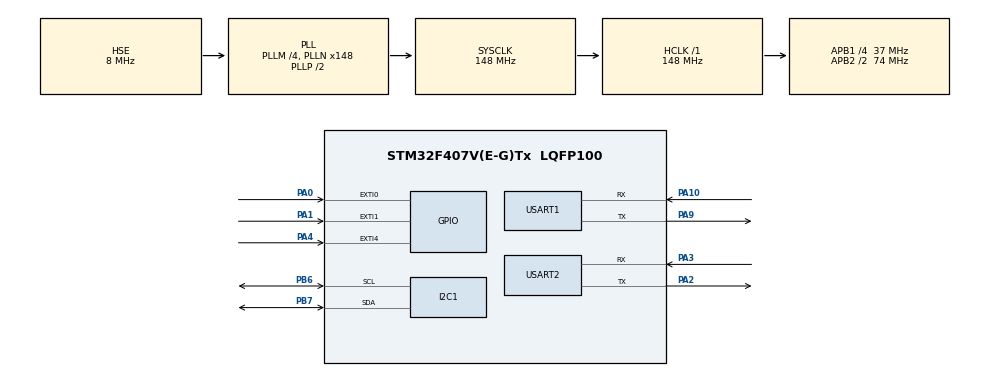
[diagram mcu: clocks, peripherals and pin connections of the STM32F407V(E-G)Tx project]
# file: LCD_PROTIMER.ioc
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Mcu.Family=STM32F4
Mcu.Name=STM32F407V(E-G)Tx
Mcu.Package=LQFP100
NVIC.EXTI0_IRQn=true\:0\:0\:false\:false\:true\:true\:true
NVIC.EXTI1_IRQn=true\:0\:0\:false\:false\:true\:true\:true
NVIC.EXTI4_IRQn=true\:0\:0\:false\:false\:true\:true\:true
NVIC.PriorityGroup=NVIC_PRIORITYGROUP_4
NVIC.USART1_IRQn=true\:0\:0\:false\:false\:true\:true\:true
NVIC.USART2_IRQn=true\:0\:0\:false\:false\:true\:true\:true
PA0-WKUP.GPIO_PuPd=GPIO_PULLDOWN
PA0-WKUP.Signal=GPXTI0
PA1.GPIO_PuPd=GPIO_PULLDOWN
PA1.Signal=GPXTI1
PA10.Mode=Asynchronous
PA10.Signal=USART1_RX
PA13.Mode=Serial_Wire
PA13.Signal=SYS_JTMS-SWDIO
PA14.Mode=Serial_Wire
PA14.Signal=SYS_JTCK-SWCLK
PA2.Mode=Asynchronous
PA2.Signal=USART2_TX
PA3.Mode=Asynchronous
PA3.Signal=USART2_RX
PA4.GPIO_PuPd=GPIO_PULLDOWN
PA4.Signal=GPXTI4
PA9.Mode=Asynchronous
PA9.Signal=USART1_TX
PB6.Mode=I2C
PB6.Signal=I2C1_SCL
PB7.Mode=I2C
PB7.Signal=I2C1_SDA
PH0-OSC_IN.Mode=HSE-External-Oscillator
PH0-OSC_IN.Signal=RCC_OSC_IN
PH1-OSC_OUT.Mode=HSE-External-Oscillator
PH1-OSC_OUT.Signal=RCC_OSC_OUT
ProjectManager.HeapSize=0x200
ProjectManager.StackSize=0x400
ProjectManager.TargetToolchain=STM32CubeIDE
RCC.48MHZClocksFreq_Value=74000000
RCC.AHBFreq_Value=148000000
RCC.APB1CLKDivider=RCC_HCLK_DIV4
RCC.APB1Freq_Value=37000000
RCC.APB1TimFreq_Value=74000000
RCC.APB2CLKDivider=RCC_HCLK_DIV2
RCC.APB2Freq_Value=74000000
RCC.APB2TimFreq_Value=148000000
RCC.CortexFreq_Value=148000000
RCC.HCLKFreq_Value=148000000
RCC.HSE_VALUE=8000000
RCC.HSI_VALUE=16000000
RCC.LSE_VALUE=32768
RCC.PLLM=4
RCC.PLLN=148
RCC.PLLSourceVirtual=RCC_PLLSOURCE_HSE
RCC.SYSCLKFreq_VALUE=148000000
RCC.SYSCLKSource=RCC_SYSCLKSOURCE_PLLCLK
RCC.VCOOutputFreq_Value=296000000
USART1.VirtualMode=VM_ASYNC
USART2.VirtualMode=VM_ASYNC
board=custom

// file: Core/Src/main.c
/* USER CODE BEGIN Header */
/**
 ******************************************************************************
 * @file           : main.c
 * @brief          : Main program body
 ******************************************************************************
 * @attention
 *
 * <h2><center>&copy; Copyright (c) 2022 STMicroelectronics.
 * All rights reserved.</center></h2>
 *
 * This software component is licensed by ST under BSD 3-Clause license,
 * the "License"; You may not use this file except in compliance with the
 * License. You may obtain a copy of the License at:
 *                        opensource.org/licenses/BSD-3-Clause
 *
 ******************************************************************************
 */
/* USER CODE END Header */
#include "main.h"
#include "app.h"

I2C_HandleTypeDef hi2c1;

UART_HandleTypeDef huart1;
UART_HandleTypeDef huart2;

/* USER CODE BEGIN PV */
protimer_t *timerobj;
pro_timer_general_event_t *timtick_evt;
protimer_button_event_t *btn_evt;
tim_tick_event_signal_t * thick_evt;

/* USER CODE END PV */

void SystemClock_Config(void);
static void MX_GPIO_Init(void);
static void MX_I2C1_Init(void);
static void MX_USART1_UART_Init(void);
static void MX_USART2_UART_Init(void);

/* USER CODE BEGIN 0 */
void HAL_GPIO_EXTI_Callback(uint16_t GPIO_Pin) {
	btn_event_handler(GPIO_Pin, btn_evt);
}
/* USER CODE END 0 */

int main(void) {

	/* MCU Configuration--------------------------------------------------------*/

	/* Reset of all peripherals, Initializes the Flash interface and the Systick. */
	HAL_Init();

	/* Configure the system clock */
	SystemClock_Config();

	/* Initialize all configured peripherals */
	MX_GPIO_Init();
	MX_I2C1_Init();
	MX_USART1_UART_Init();
	MX_USART2_UART_Init();
	/* USER CODE BEGIN 2 */
	pro_timer_init(timerobj);
	copy_button_evt_to_general_evt(btn_evt, timtick_evt);
	copy_tick_info_to_general_struct(thick_evt, timtick_evt);

	/* USER CODE END 2 */

	/* Infinite loop */
	while (1) {

		/* USER CODE BEGIN 3 */
		/*if (btn_evt->is_button_pressed) {
			copy_button_evt_to_general_evt(btn_evt, timtick_evt);
		}*/
		if (!(isevent_thick(thick_evt))) {
			thick_evt->is_time_idle = true;
		} else
			thick_evt->is_time_idle = false;
		copy_tick_info_to_general_struct(thick_evt, timtick_evt);
		pro_timer_state_machine(timerobj, timtick_evt);
		//btn_evt->is_button_pressed = 0; Buuna gerek kalmadı çünk kendi içinde 0'a çekilecek o.
	    //copy_button_evt_to_general_evt(btn_evt, timtick_evt);copy _button_evt_to general evt de
		//adresini alarak işlem yapıldıgı için bir daha kopyalamaya gerek kalmadı.

	}
	/* USER CODE END 3 */
}

void SystemClock_Config(void) {
	RCC_OscInitTypeDef RCC_OscInitStruct = { 0 };
	RCC_ClkInitTypeDef RCC_ClkInitStruct = { 0 };

	/** Configure the main internal regulator output voltage
	 */
	__HAL_RCC_PWR_CLK_ENABLE();
	__HAL_PWR_VOLTAGESCALING_CONFIG(PWR_REGULATOR_VOLTAGE_SCALE1);
	/** Initializes the RCC Oscillators according to the specified parameters
	 * in the RCC_OscInitTypeDef structure.
	 */
	RCC_OscInitStruct.OscillatorType = RCC_OSCILLATORTYPE_HSE;
	RCC_OscInitStruct.HSEState = RCC_HSE_ON;
	RCC_OscInitStruct.PLL.PLLState = RCC_PLL_ON;
	RCC_OscInitStruct.PLL.PLLSource = RCC_PLLSOURCE_HSE;
	RCC_OscInitStruct.PLL.PLLM = 4;
	RCC_OscInitStruct.PLL.PLLN = 148;
	RCC_OscInitStruct.PLL.PLLP = RCC_PLLP_DIV2;
	RCC_OscInitStruct.PLL.PLLQ = 4;
	if (HAL_RCC_OscConfig(&RCC_OscInitStruct) != HAL_OK) {
		Error_Handler();
	}
	/** Initializes the CPU, AHB and APB buses clocks
	 */
	RCC_ClkInitStruct.ClockType = RCC_CLOCKTYPE_HCLK | RCC_CLOCKTYPE_SYSCLK
			| RCC_CLOCKTYPE_PCLK1 | RCC_CLOCKTYPE_PCLK2;
	RCC_ClkInitStruct.SYSCLKSource = RCC_SYSCLKSOURCE_PLLCLK;
	RCC_ClkInitStruct.AHBCLKDivider = RCC_SYSCLK_DIV1;
	RCC_ClkInitStruct.APB1CLKDivider = RCC_HCLK_DIV4;
	RCC_ClkInitStruct.APB2CLKDivider = RCC_HCLK_DIV2;

	if (HAL_RCC_ClockConfig(&RCC_ClkInitStruct, FLASH_LATENCY_4) != HAL_OK) {
		Error_Handler();
	}
}

static void MX_I2C1_Init(void) {

	hi2c1.Instance = I2C1;
	hi2c1.Init.ClockSpeed = 100000;
	hi2c1.Init.DutyCycle = I2C_DUTYCYCLE_2;
	hi2c1.Init.OwnAddress1 = 0;
	hi2c1.Init.AddressingMode = I2C_ADDRESSINGMODE_7BIT;
	hi2c1.Init.DualAddressMode = I2C_DUALADDRESS_DISABLE;
	hi2c1.Init.OwnAddress2 = 0;
	hi2c1.Init.GeneralCallMode = I2C_GENERALCALL_DISABLE;
	hi2c1.Init.NoStretchMode = I2C_NOSTRETCH_DISABLE;
	if (HAL_I2C_Init(&hi2c1) != HAL_OK) {
		Error_Handler();
	}

}

static void MX_USART1_UART_Init(void) {

	huart1.Instance = USART1;
	huart1.Init.BaudRate = 115200;
	huart1.Init.WordLength = UART_WORDLENGTH_8B;
	huart1.Init.StopBits = UART_STOPBITS_1;
	huart1.Init.Parity = UART_PARITY_NONE;
	huart1.Init.Mode = UART_MODE_TX_RX;
	huart1.Init.HwFlowCtl = UART_HWCONTROL_NONE;
	huart1.Init.OverSampling = UART_OVERSAMPLING_16;
	if (HAL_UART_Init(&huart1) != HAL_OK) {
		Error_Handler();
	}

}

static void MX_USART2_UART_Init(void) {

	huart2.Instance = USART2;
	huart2.Init.BaudRate = 115200;
	huart2.Init.WordLength = UART_WORDLENGTH_8B;
	huart2.Init.StopBits = UART_STOPBITS_1;
	huart2.Init.Parity = UART_PARITY_NONE;
	huart2.Init.Mode = UART_MODE_TX_RX;
	huart2.Init.HwFlowCtl = UART_HWCONTROL_NONE;
	huart2.Init.OverSampling = UART_OVERSAMPLING_16;
	if (HAL_UART_Init(&huart2) != HAL_OK) {
		Error_Handler();
	}

}

static void MX_GPIO_Init(void) {
	GPIO_InitTypeDef GPIO_InitStruct = { 0 };

	/* GPIO Ports Clock Enable */
	__HAL_RCC_GPIOH_CLK_ENABLE();
	__HAL_RCC_GPIOA_CLK_ENABLE();
	__HAL_RCC_GPIOB_CLK_ENABLE();

	/*Configure GPIO pins : PA0 PA1 PA4 */
	GPIO_InitStruct.Pin = GPIO_PIN_0 | GPIO_PIN_1 | GPIO_PIN_4;
	GPIO_InitStruct.Mode = GPIO_MODE_IT_RISING;
	GPIO_InitStruct.Pull = GPIO_PULLDOWN;
	HAL_GPIO_Init(GPIOA, &GPIO_InitStruct);

	/* EXTI interrupt init*/
	HAL_NVIC_SetPriority(EXTI0_IRQn, 0, 0);
	HAL_NVIC_EnableIRQ(EXTI0_IRQn);

	HAL_NVIC_SetPriority(EXTI1_IRQn, 0, 0);
	HAL_NVIC_EnableIRQ(EXTI1_IRQn);

	HAL_NVIC_SetPriority(EXTI4_IRQn, 0, 0);
	HAL_NVIC_EnableIRQ(EXTI4_IRQn);

}

void Error_Handler(void) {
	__disable_irq();
	while (1) {
	}
}

/************************ (C) COPYRIGHT STMicroelectronics *****END OF FILE****/
